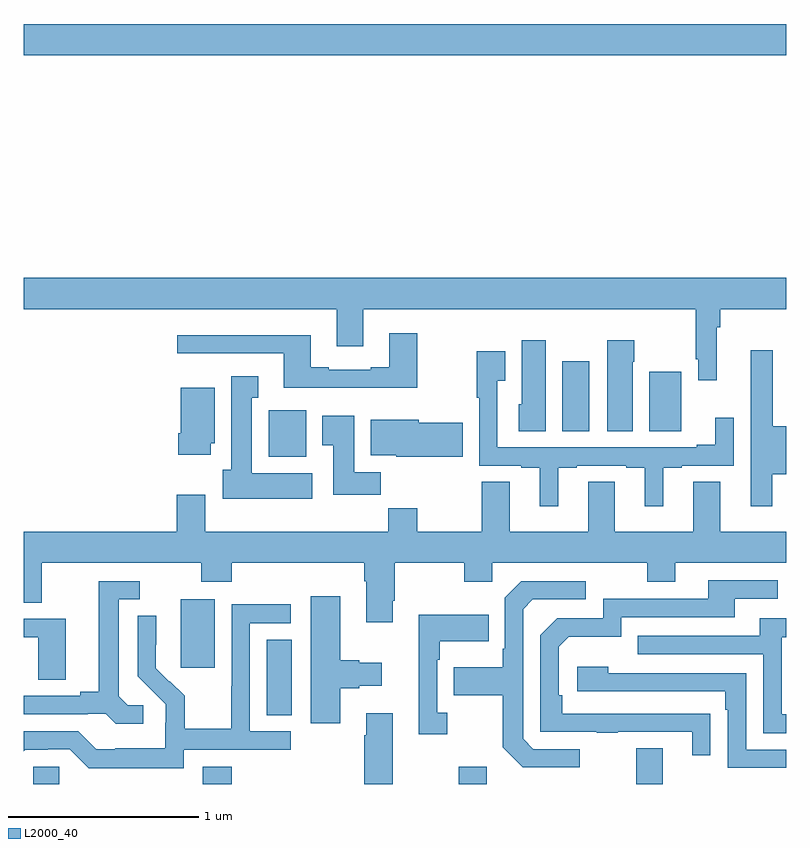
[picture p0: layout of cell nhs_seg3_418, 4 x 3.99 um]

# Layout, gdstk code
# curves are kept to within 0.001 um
import gdstk
lib = gdstk.Library(unit=1e-6, precision=1e-09)
def R(c, l, rs):  # rectangles x0, y0, x1, y1
    for r in rs: c.add(gdstk.rectangle(r[:2], r[2:], *l))
def P(c, l, *ps):  # polygons
    for p in ps: c.add(gdstk.Polygon(p, *l))
L2000_40 = (2000, 40)

nhs_seg3_418 = lib.new_cell('nhs_seg3_418')
R(nhs_seg3_418, L2000_40, [(131.049,722.4,131.187,722.49), (131.939,722.4,132.092,722.491), (133.282,722.4,133.429,722.491), (134.213,722.4,134.353,722.587), (132.275,722.761,132.406,723.158), (131.822,723.009,132.001,723.37), (132.284,724.118,132.481,724.36), (133.826,724.252,133.966,724.618), (134.282,724.252,134.449,724.564), (131,726.224,135,726.388)])
P(nhs_seg3_418, L2000_40, [(134.636,724.796),(134.654,724.796),(134.654,724.892),(135,724.892),(135,725.056),(131,725.056),(131,724.892),(132.641,724.892),(132.641,724.698),(132.781,724.698),(132.781,724.892),(134.526,724.892),(134.526,724.63),(134.538,724.63),(134.538,724.518),(134.636,724.518)],
  [(133.065,724.765),(132.917,724.765),(132.917,724.588),(132.821,724.588),(132.821,724.575),(132.601,724.575),(132.601,724.588),(132.505,724.588),(132.505,724.756),(131.805,724.756),(131.805,724.659),(132.365,724.659),(132.365,724.478),(133.065,724.478)],
  [(134.194,724.616),(134.202,724.616),(134.202,724.729),(134.06,724.729),(134.06,724.252),(134.194,724.252)],
  [(133.738,724.729),(133.613,724.729),(133.613,724.392),(133.598,724.392),(133.598,724.252),(133.738,724.252)],
  [(134.926,724.026),(135,724.026),(135,724.276),(134.93,724.276),(134.93,724.675),(134.813,724.675),(134.813,724.372),(134.814,724.372),(134.814,723.858),(134.926,723.858)],
  [(133.804,724.059),(133.9,724.059),(133.9,724.071),(134.162,724.071),(134.162,724.059),(134.258,724.059),(134.258,723.858),(134.356,723.858),(134.356,724.059),(134.452,724.059),(134.452,724.071),(134.724,724.071),(134.724,724.321),(134.627,724.321),(134.627,724.18),(134.531,724.18),(134.531,724.167),(133.485,724.167),(133.485,724.516),(133.525,724.516),(133.525,724.672),(133.377,724.672),(133.377,724.427),(133.389,724.427),(133.389,724.071),(133.61,724.071),(133.61,724.059),(133.706,724.059),(133.706,723.858),(133.804,723.858)],
  [(132.514,724.03),(132.196,724.03),(132.196,724.427),(132.229,724.427),(132.229,724.54),(132.089,724.54),(132.089,724.05),(132.044,724.05),(132.044,723.896),(132.514,723.896)],
  [(131.98,724.188),(132.001,724.188),(132.001,724.48),(131.822,724.48),(131.822,724.24),(131.81,724.24),(131.81,724.128),(131.98,724.128)],
  [(132.872,724.036),(132.733,724.036),(132.733,724.333),(132.566,724.333),(132.566,724.177),(132.623,724.177),(132.623,723.918),(132.872,723.918)],
  [(133.303,724.295),(133.072,724.295),(133.072,724.312),(132.821,724.312),(132.821,724.124),(132.954,724.124),(132.954,724.118),(133.303,724.118)],
  [(132.937,723.361),(132.945,723.361),(132.945,723.56),(133.312,723.56),(133.312,723.461),(133.458,723.461),(133.458,723.56),(134.272,723.56),(134.272,723.461),(134.419,723.461),(134.419,723.56),(135,723.56),(135,723.724),(134.653,723.724),(134.653,723.986),(134.513,723.986),(134.513,723.724),(134.101,723.724),(134.101,723.986),(133.961,723.986),(133.961,723.724),(133.549,723.724),(133.549,723.986),(133.402,723.986),(133.402,723.724),(133.065,723.724),(133.065,723.848),(132.913,723.848),(132.913,723.724),(131.953,723.724),(131.953,723.919),(131.801,723.919),(131.801,723.724),(131,723.724),(131,723.352),(131.095,723.352),(131.095,723.56),(131.932,723.56),(131.932,723.461),(132.092,723.461),(132.092,723.56),(132.785,723.56),(132.785,723.464),(132.797,723.464),(132.797,723.249),(132.937,723.249)],
  [(134.603,722.768),(133.826,722.769),(133.826,722.866),(133.806,722.866),(133.806,723.12),(133.859,723.173),(134.136,723.173),(134.136,723.276),(134.731,723.276),(134.731,723.372),(134.956,723.372),(134.956,723.468),(134.591,723.468),(134.591,723.372),(134.04,723.372),(134.04,723.27),(133.8,723.27),(133.71,723.18),(133.71,722.673),(134.005,722.673),(134.005,722.668),(134.117,722.668),(134.117,722.673),(134.507,722.673),(134.507,722.55),(134.603,722.55)],
  [(131.626,722.814),(131.544,722.814),(131.497,722.861),(131.497,723.369),(131.608,723.369),(131.608,723.465),(131.393,723.465),(131.393,722.885),(131.297,722.885),(131.297,722.862),(131.002,722.862),(131,722.864),(131,722.766),(131.336,722.766),(131.336,722.769),(131.43,722.769),(131.482,722.717),(131.626,722.717)],
  [(133.918,722.583),(133.674,722.583),(133.62,722.637),(133.62,723.318),(133.671,723.369),(133.948,723.369),(133.948,723.465),(133.611,723.465),(133.524,723.378),(133.524,723.109),(133.512,723.109),(133.512,723.013),(133.255,723.013),(133.255,722.866),(133.512,722.866),(133.512,722.593),(133.617,722.487),(133.918,722.487)],
  [(132.661,722.903),(132.761,722.903),(132.761,722.915),(132.877,722.915),(132.877,723.037),(132.761,723.037),(132.761,723.05),(132.661,723.05),(132.661,723.385),(132.506,723.385),(132.506,722.718),(132.661,722.718)],
  [(131.838,722.58),(132.4,722.58),(132.4,722.676),(132.186,722.676),(132.186,723.243),(132.4,723.243),(132.4,723.342),(132.09,723.342),(132.09,722.912),(132.088,722.912),(132.088,722.689),(131.843,722.689),(131.843,722.863),(131.766,722.94),(131.763,722.937),(131.693,723.008),(131.694,723.284),(131.598,723.284),(131.598,722.966),(131.744,722.818),(131.744,722.721),(131.742,722.721),(131.742,722.587),(131.479,722.587),(131.479,722.583),(131.379,722.583),(131.286,722.676),(131,722.676),(131,722.573),(131.007,722.58),(131.126,722.58),(131.126,722.583),(131.241,722.583),(131.341,722.483),(131.838,722.483)],
  [(133.222,722.774),(133.17,722.774),(133.17,723.053),(133.183,723.053),(133.183,723.149),(133.439,723.149),(133.439,723.289),(133.073,723.289),(133.073,722.661),(133.222,722.661)],
  [(135,722.766),(134.976,722.766),(134.976,723.171),(135,723.171),(135,723.271),(134.861,723.271),(134.861,723.177),(134.221,723.177),(134.221,723.081),(134.88,723.081),(134.88,722.665),(135,722.665)],
  [(131.221,723.267),(131,723.267),(131,723.171),(131.076,723.171),(131.076,722.947),(131.221,722.947)],
  [(135,722.58),(134.79,722.58),(134.79,722.982),(134.066,722.982),(134.066,723.016),(133.905,723.016),(133.905,722.886),(134.681,722.886),(134.681,722.789),(134.694,722.789),(134.694,722.484),(135,722.484)],
  [(132.937,722.77),(132.797,722.77),(132.797,722.657),(132.785,722.657),(132.785,722.4),(132.937,722.4)])

lib.write_gds('nhs_seg3_418.gds')
